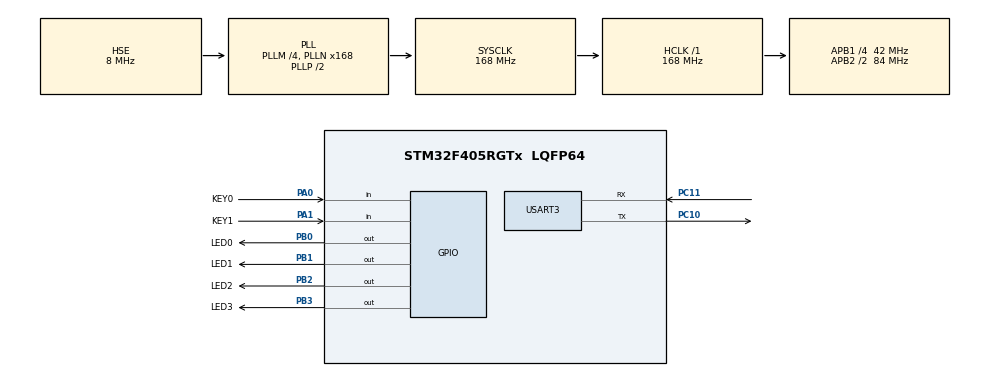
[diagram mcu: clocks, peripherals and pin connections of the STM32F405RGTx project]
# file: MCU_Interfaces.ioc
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Mcu.Family=STM32F4
Mcu.Name=STM32F405RGTx
Mcu.Package=LQFP64
NVIC.PriorityGroup=NVIC_PRIORITYGROUP_4
NVIC.TIM3_IRQn=true\:0\:0\:false\:false\:true\:true\:true\:true
PA0-WKUP.GPIO_Label=KEY0
PA0-WKUP.Signal=GPIO_Input
PA1.GPIO_Label=KEY1
PA1.Signal=GPIO_Input
PB0.GPIO_Label=LED0
PB0.Signal=GPIO_Output
PB1.GPIO_Label=LED1
PB1.Signal=GPIO_Output
PB2.GPIO_Label=LED2
PB2.Signal=GPIO_Output
PB3.GPIO_Label=LED3
PB3.Signal=GPIO_Output
PC10.Mode=Asynchronous
PC10.Signal=USART3_TX
PC11.Mode=Asynchronous
PC11.Signal=USART3_RX
PH0-OSC_IN.Mode=HSE-External-Oscillator
PH0-OSC_IN.Signal=RCC_OSC_IN
PH1-OSC_OUT.Mode=HSE-External-Oscillator
PH1-OSC_OUT.Signal=RCC_OSC_OUT
ProjectManager.HeapSize=0x200
ProjectManager.StackSize=0x400
ProjectManager.TargetToolchain=STM32CubeIDE
RCC.48MHZClocksFreq_Value=84000000
RCC.AHBFreq_Value=168000000
RCC.APB1CLKDivider=RCC_HCLK_DIV4
RCC.APB1Freq_Value=42000000
RCC.APB1TimFreq_Value=84000000
RCC.APB2CLKDivider=RCC_HCLK_DIV2
RCC.APB2Freq_Value=84000000
RCC.APB2TimFreq_Value=168000000
RCC.CortexFreq_Value=168000000
RCC.HCLKFreq_Value=168000000
RCC.HSE_VALUE=8000000
RCC.HSI_VALUE=16000000
RCC.LSE_VALUE=32768
RCC.PLLM=4
RCC.PLLN=168
RCC.PLLSourceVirtual=RCC_PLLSOURCE_HSE
RCC.SYSCLKFreq_VALUE=168000000
RCC.SYSCLKSource=RCC_SYSCLKSOURCE_PLLCLK
RCC.VCOOutputFreq_Value=336000000
TIM3.Period=49999
TIM3.Prescaler=16799
USART3.VirtualMode=VM_ASYNC
VP_TIM3_VS_ClockSourceINT.Mode=Internal
board=custom

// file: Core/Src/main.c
/* USER CODE BEGIN Header */
/**
 ******************************************************************************
 * @file           : main.c
 * @brief          : Main program body
 ******************************************************************************
 * @attention
 *
 * Copyright (c) 2022 STMicroelectronics.
 * All rights reserved.
 *
 * This software is licensed under terms that can be found in the LICENSE file
 * in the root directory of this software component.
 * If no LICENSE file comes with this software, it is provided AS-IS.
 *
 ******************************************************************************
 */
/* USER CODE END Header */
#include "main.h"

/* USER CODE BEGIN Includes */
#include <stdio.h>
#include <string.h>
/* USER CODE END Includes */

TIM_HandleTypeDef htim3;

UART_HandleTypeDef huart3;

void SystemClock_Config(void);
static void MX_GPIO_Init(void);
static void MX_USART3_UART_Init(void);
static void MX_TIM3_Init(void);
/* USER CODE BEGIN PFP */
/* Private function prototypes -----------------------------------------------*/
#ifdef __GNUC__
/* With GCC/RAISONANCE, small printf (option LD Linker->Libraries->Small printf
 set to 'Yes') calls __io_putchar() */
#define PUTCHAR_PROTOTYPE int __io_putchar(int ch)
#else
 #define PUTCHAR_PROTOTYPE int fputc(int ch, FILE *f)
#endif /* __GNUC__ */
/* USER CODE END PFP */

int main(void)
{
  /* USER CODE BEGIN 1 */
  uint8_t tx_data[64] = "Program started!!!\r\n";
  /* USER CODE END 1 */

  /* MCU Configuration--------------------------------------------------------*/

  /* Reset of all peripherals, Initializes the Flash interface and the Systick. */
  HAL_Init();

  /* Configure the system clock */
  SystemClock_Config();

  /* Initialize all configured peripherals */
  MX_GPIO_Init();
  MX_USART3_UART_Init();
  MX_TIM3_Init();
  /* USER CODE BEGIN 2 */
  HAL_UART_Transmit(&huart3, tx_data, sizeof(tx_data), 100);
  HAL_UART_Transmit(&huart3, (uint8_t*) &"Program started!!!\r\n",
      sizeof(tx_data), 100);
  /* USER CODE END 2 */

  /* Infinite loop */
  while (1)
  {

    /* USER CODE BEGIN 3 */

    HAL_GPIO_TogglePin(GPIOB, LED0_Pin);
    HAL_GPIO_WritePin(LED0_GPIO_Port, LED0_Pin, GPIO_PIN_RESET);
    HAL_GPIO_WritePin(LED0_GPIO_Port, LED0_Pin, GPIO_PIN_SET);

    HAL_GPIO_ReadPin(KEY0_GPIO_Port, KEY0_Pin);

    HAL_Delay(500);
    HAL_GPIO_TogglePin(GPIOB, LED0_Pin | LED1_Pin | LED2_Pin | LED3_Pin);
    HAL_Delay(500);
    printf("Program's is running...!\n\r");
  }
  /* USER CODE END 3 */
}

void SystemClock_Config(void)
{
  RCC_OscInitTypeDef RCC_OscInitStruct =
  { 0 };
  RCC_ClkInitTypeDef RCC_ClkInitStruct =
  { 0 };

  /** Configure the main internal regulator output voltage
   */
  __HAL_RCC_PWR_CLK_ENABLE();
  __HAL_PWR_VOLTAGESCALING_CONFIG(PWR_REGULATOR_VOLTAGE_SCALE1);

  /** Initializes the RCC Oscillators according to the specified parameters
   * in the RCC_OscInitTypeDef structure.
   */
  RCC_OscInitStruct.OscillatorType = RCC_OSCILLATORTYPE_HSE;
  RCC_OscInitStruct.HSEState = RCC_HSE_ON;
  RCC_OscInitStruct.PLL.PLLState = RCC_PLL_ON;
  RCC_OscInitStruct.PLL.PLLSource = RCC_PLLSOURCE_HSE;
  RCC_OscInitStruct.PLL.PLLM = 4;
  RCC_OscInitStruct.PLL.PLLN = 168;
  RCC_OscInitStruct.PLL.PLLP = RCC_PLLP_DIV2;
  RCC_OscInitStruct.PLL.PLLQ = 4;
  if (HAL_RCC_OscConfig(&RCC_OscInitStruct) != HAL_OK)
  {
    Error_Handler();
  }

  /** Initializes the CPU, AHB and APB buses clocks
   */
  RCC_ClkInitStruct.ClockType = RCC_CLOCKTYPE_HCLK | RCC_CLOCKTYPE_SYSCLK
      | RCC_CLOCKTYPE_PCLK1 | RCC_CLOCKTYPE_PCLK2;
  RCC_ClkInitStruct.SYSCLKSource = RCC_SYSCLKSOURCE_PLLCLK;
  RCC_ClkInitStruct.AHBCLKDivider = RCC_SYSCLK_DIV1;
  RCC_ClkInitStruct.APB1CLKDivider = RCC_HCLK_DIV4;
  RCC_ClkInitStruct.APB2CLKDivider = RCC_HCLK_DIV2;

  if (HAL_RCC_ClockConfig(&RCC_ClkInitStruct, FLASH_LATENCY_5) != HAL_OK)
  {
    Error_Handler();
  }
}

static void MX_TIM3_Init(void)
{

  TIM_ClockConfigTypeDef sClockSourceConfig =
  { 0 };
  TIM_MasterConfigTypeDef sMasterConfig =
  { 0 };

  htim3.Instance = TIM3;
  htim3.Init.Prescaler = 16799;
  htim3.Init.CounterMode = TIM_COUNTERMODE_UP;
  htim3.Init.Period = 49999;
  htim3.Init.ClockDivision = TIM_CLOCKDIVISION_DIV1;
  htim3.Init.AutoReloadPreload = TIM_AUTORELOAD_PRELOAD_DISABLE;
  if (HAL_TIM_Base_Init(&htim3) != HAL_OK)
  {
    Error_Handler();
  }
  sClockSourceConfig.ClockSource = TIM_CLOCKSOURCE_INTERNAL;
  if (HAL_TIM_ConfigClockSource(&htim3, &sClockSourceConfig) != HAL_OK)
  {
    Error_Handler();
  }
  sMasterConfig.MasterOutputTrigger = TIM_TRGO_RESET;
  sMasterConfig.MasterSlaveMode = TIM_MASTERSLAVEMODE_DISABLE;
  if (HAL_TIMEx_MasterConfigSynchronization(&htim3, &sMasterConfig) != HAL_OK)
  {
    Error_Handler();
  }

}

static void MX_USART3_UART_Init(void)
{

  huart3.Instance = USART3;
  huart3.Init.BaudRate = 115200;
  huart3.Init.WordLength = UART_WORDLENGTH_8B;
  huart3.Init.StopBits = UART_STOPBITS_1;
  huart3.Init.Parity = UART_PARITY_NONE;
  huart3.Init.Mode = UART_MODE_TX_RX;
  huart3.Init.HwFlowCtl = UART_HWCONTROL_NONE;
  huart3.Init.OverSampling = UART_OVERSAMPLING_16;
  if (HAL_UART_Init(&huart3) != HAL_OK)
  {
    Error_Handler();
  }

}

static void MX_GPIO_Init(void)
{
  GPIO_InitTypeDef GPIO_InitStruct =
  { 0 };

  /* GPIO Ports Clock Enable */
  __HAL_RCC_GPIOH_CLK_ENABLE();
  __HAL_RCC_GPIOA_CLK_ENABLE();
  __HAL_RCC_GPIOB_CLK_ENABLE();
  __HAL_RCC_GPIOC_CLK_ENABLE();

  /*Configure GPIO pin Output Level */
  HAL_GPIO_WritePin(GPIOB, LED0_Pin | LED1_Pin | LED2_Pin | LED3_Pin,
      GPIO_PIN_RESET);

  /*Configure GPIO pins : KEY0_Pin KEY1_Pin */
  GPIO_InitStruct.Pin = KEY0_Pin | KEY1_Pin;
  GPIO_InitStruct.Mode = GPIO_MODE_INPUT;
  GPIO_InitStruct.Pull = GPIO_NOPULL;
  HAL_GPIO_Init(GPIOA, &GPIO_InitStruct);

  /*Configure GPIO pins : LED0_Pin LED1_Pin LED2_Pin LED3_Pin */
  GPIO_InitStruct.Pin = LED0_Pin | LED1_Pin | LED2_Pin | LED3_Pin;
  GPIO_InitStruct.Mode = GPIO_MODE_OUTPUT_PP;
  GPIO_InitStruct.Pull = GPIO_NOPULL;
  GPIO_InitStruct.Speed = GPIO_SPEED_FREQ_LOW;
  HAL_GPIO_Init(GPIOB, &GPIO_InitStruct);

}

/* USER CODE BEGIN 4 */
void HAL_TIM_PeriodElapsedCallback(TIM_HandleTypeDef *htim)
{
  if (htim->Instance == TIM3)
  {
    HAL_GPIO_TogglePin(GPIOB, LED0_Pin);
  }
}

/**
 * @brief Retargets the C library printf function to the USART.
 * @param None
 * @retval None
 */
PUTCHAR_PROTOTYPE
{
  /* Place your implementation of fputc here */
  /* e.g. write a character to the USART */
  HAL_UART_Transmit(&huart3, (uint8_t*) &ch, 1, 100);
  return ch;
}
/* USER CODE END 4 */

void Error_Handler(void)
{
  __disable_irq();
  while (1)
  {
  }
}
